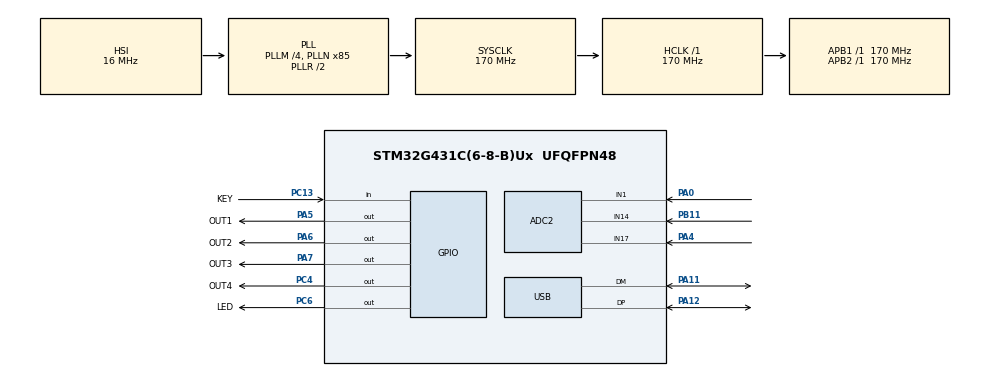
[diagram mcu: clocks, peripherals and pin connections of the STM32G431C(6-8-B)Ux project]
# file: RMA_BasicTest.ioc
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ADC2.Channel-0\#ChannelRegularConversion=ADC_CHANNEL_1
ADC2.Channel-1\#ChannelRegularConversion=ADC_CHANNEL_14
ADC2.Channel-2\#ChannelRegularConversion=ADC_CHANNEL_17
ADC2.ContinuousConvMode=ENABLE
ADC2.DMAContinuousRequests=ENABLE
ADC2.NbrOfConversion=3
ADC2.NbrOfConversionFlag=1
ADC2.OffsetNumber-0\#ChannelRegularConversion=ADC_OFFSET_NONE
ADC2.OffsetNumber-1\#ChannelRegularConversion=ADC_OFFSET_NONE
ADC2.OffsetNumber-2\#ChannelRegularConversion=ADC_OFFSET_NONE
ADC2.Rank-0\#ChannelRegularConversion=1
ADC2.Rank-1\#ChannelRegularConversion=2
ADC2.Rank-2\#ChannelRegularConversion=3
ADC2.SamplingTime-0\#ChannelRegularConversion=ADC_SAMPLETIME_640CYCLES_5
ADC2.SamplingTime-1\#ChannelRegularConversion=ADC_SAMPLETIME_640CYCLES_5
ADC2.SamplingTime-2\#ChannelRegularConversion=ADC_SAMPLETIME_640CYCLES_5
Dma.ADC2.0.Direction=DMA_PERIPH_TO_MEMORY
Dma.ADC2.0.EventEnable=DISABLE
Dma.ADC2.0.Instance=DMA1_Channel1
Dma.ADC2.0.MemDataAlignment=DMA_MDATAALIGN_HALFWORD
Dma.ADC2.0.MemInc=DMA_MINC_ENABLE
Dma.ADC2.0.Mode=DMA_CIRCULAR
Dma.ADC2.0.PeriphDataAlignment=DMA_PDATAALIGN_HALFWORD
Dma.ADC2.0.PeriphInc=DMA_PINC_DISABLE
Dma.ADC2.0.Polarity=HAL_DMAMUX_REQ_GEN_RISING
Dma.ADC2.0.Priority=DMA_PRIORITY_LOW
Dma.ADC2.0.RequestNumber=1
Dma.ADC2.0.SignalID=NONE
Dma.ADC2.0.SyncEnable=DISABLE
Dma.ADC2.0.SyncPolarity=HAL_DMAMUX_SYNC_NO_EVENT
Dma.ADC2.0.SyncRequestNumber=1
Dma.ADC2.0.SyncSignalID=NONE
Dma.Request0=ADC2
FREERTOS.Tasks01=defaultTask,0,256,StartDefaultTask,Default,NULL,Dynamic,NULL,NULL;ledTask,-2,128,LedTask,Default,NULL,Dynamic,NULL,NULL;keyTask,3,128,KeyTask,Default,NULL,Dynamic,NULL,NULL
Mcu.Family=STM32G4
Mcu.Name=STM32G431C(6-8-B)Ux
Mcu.Package=UFQFPN48
NVIC.DMA1_Channel1_IRQn=true\:5\:0\:false\:false\:true\:true\:false\:true\:true
NVIC.PriorityGroup=NVIC_PRIORITYGROUP_4
NVIC.TIM1_TRG_COM_TIM17_IRQn=true\:15\:0\:false\:false\:true\:false\:false\:true\:true
NVIC.TimeBase=TIM1_TRG_COM_TIM17_IRQn
NVIC.TimeBaseIP=TIM17
NVIC.USB_LP_IRQn=true\:5\:0\:false\:false\:true\:true\:false\:true\:true
PA0.Mode=IN1-Single-Ended
PA0.Signal=ADC2_IN1
PA11.Mode=Device
PA11.Signal=USB_DM
PA12.Mode=Device
PA12.Signal=USB_DP
PA13.Mode=Serial_Wire
PA13.Signal=SYS_JTMS-SWDIO
PA14.Mode=Serial_Wire
PA14.Signal=SYS_JTCK-SWCLK
PA4.Mode=IN17-Single-Ended
PA4.Signal=ADC2_IN17
PA5.GPIO_Label=OUT1
PA5.GPIO_PuPd=GPIO_PULLUP
PA5.GPIO_Speed=GPIO_SPEED_FREQ_VERY_HIGH
PA5.PinState=GPIO_PIN_SET
PA5.Signal=GPIO_Output
PA6.GPIO_Label=OUT2
PA6.GPIO_ModeDefaultOutputPP=GPIO_MODE_OUTPUT_PP
PA6.GPIO_PuPd=GPIO_PULLUP
PA6.GPIO_Speed=GPIO_SPEED_FREQ_VERY_HIGH
PA6.PinState=GPIO_PIN_SET
PA6.Signal=GPIO_Output
PA7.GPIO_Label=OUT3
PA7.GPIO_ModeDefaultOutputPP=GPIO_MODE_OUTPUT_PP
PA7.GPIO_PuPd=GPIO_PULLUP
PA7.GPIO_Speed=GPIO_SPEED_FREQ_VERY_HIGH
PA7.PinState=GPIO_PIN_SET
PA7.Signal=GPIO_Output
PB11.Mode=IN14-Single-Ended
PB11.Signal=ADC2_IN14
PC13.GPIO_Label=KEY
PC13.GPIO_PuPd=GPIO_PULLDOWN
PC13.Signal=GPIO_Input
PC4.GPIO_Label=OUT4
PC4.GPIO_ModeDefaultOutputPP=GPIO_MODE_OUTPUT_PP
PC4.GPIO_PuPd=GPIO_PULLUP
PC4.GPIO_Speed=GPIO_SPEED_FREQ_VERY_HIGH
PC4.PinState=GPIO_PIN_SET
PC4.Signal=GPIO_Output
PC6.GPIO_Label=LED
PC6.GPIO_PuPd=GPIO_PULLDOWN
PC6.GPIO_Speed=GPIO_SPEED_FREQ_LOW
PC6.PinState=GPIO_PIN_RESET
PC6.Signal=GPIO_Output
PF0-OSC_IN.Mode=HSE-External-Oscillator
PF0-OSC_IN.Signal=RCC_OSC_IN
PF1-OSC_OUT.Mode=HSE-External-Oscillator
PF1-OSC_OUT.Signal=RCC_OSC_OUT
ProjectManager.HeapSize=0x010
ProjectManager.StackSize=0xA00
ProjectManager.TargetToolchain=MDK-ARM V5.32
RCC.ADC12Freq_Value=170000000
RCC.AHBFreq_Value=170000000
RCC.APB1Freq_Value=170000000
RCC.APB1TimFreq_Value=170000000
RCC.APB2Freq_Value=170000000
RCC.APB2TimFreq_Value=170000000
RCC.CK48CLockSelection=RCC_USBCLKSOURCE_HSI48
RCC.CortexFreq_Value=170000000
RCC.EXTERNAL_CLOCK_VALUE=12288000
RCC.HCLKFreq_Value=170000000
RCC.HSE_VALUE=8000000
RCC.HSI48_VALUE=48000000
RCC.HSI_VALUE=16000000
RCC.LSE_VALUE=32768
RCC.PLLM=RCC_PLLM_DIV4
RCC.PLLN=85
RCC.SYSCLKFreq_VALUE=170000000
RCC.SYSCLKSource=RCC_SYSCLKSOURCE_PLLCLK
RCC.USBFreq_Value=48000000
RCC.VCOOutputFreq_Value=340000000
USB_DEVICE.CLASS_NAME_FS=CDC
USB_DEVICE.VirtualMode=Cdc
USB_DEVICE.VirtualModeFS=Cdc_FS
VP_FREERTOS_VS_CMSIS_V1.Mode=CMSIS_V1
VP_SYS_VS_DBSignals.Mode=DisableDeadBatterySignals
VP_SYS_VS_tim17.Mode=TIM17
VP_USB_DEVICE_VS_USB_DEVICE_CDC_FS.Mode=CDC_FS
board=custom

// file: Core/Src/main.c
/* USER CODE BEGIN Header */
/**
  ******************************************************************************
  * @file           : main.c
  * @brief          : Main program body
  ******************************************************************************
  * @attention
  *
  * Copyright (c) 2025 STMicroelectronics.
  * All rights reserved.
  *
  * This software is licensed under terms that can be found in the LICENSE file
  * in the root directory of this software component.
  * If no LICENSE file comes with this software, it is provided AS-IS.
  *
  ******************************************************************************
  */
/* USER CODE END Header */
#include "main.h"
#include "cmsis_os.h"
#include "adc.h"
#include "dma.h"
#include "usb_device.h"
#include "gpio.h"

void SystemClock_Config(void);
void MX_FREERTOS_Init(void);

int main(void)
{

  /* MCU Configuration--------------------------------------------------------*/

  /* Reset of all peripherals, Initializes the Flash interface and the Systick. */
  HAL_Init();

  /* Configure the system clock */
  SystemClock_Config();

  /* Initialize all configured peripherals */
  MX_GPIO_Init();
  MX_DMA_Init();
  MX_USB_Device_Init();
  MX_ADC2_Init();
  /* USER CODE BEGIN 2 */
//	while(1)
//	{
//		HAL_GPIO_WritePin(OUT1_GPIO_Port,OUT1_Pin,1);
//		HAL_GPIO_WritePin(OUT2_GPIO_Port,OUT2_Pin,1);
//		HAL_GPIO_WritePin(OUT3_GPIO_Port,OUT3_Pin,1);
//		HAL_GPIO_WritePin(OUT4_GPIO_Port,OUT4_Pin,1);
//
//		HAL_Delay(40);
//		HAL_GPIO_WritePin(OUT1_GPIO_Port,OUT1_Pin,0);
//		HAL_GPIO_WritePin(OUT2_GPIO_Port,OUT2_Pin,0);
//		HAL_GPIO_WritePin(OUT3_GPIO_Port,OUT3_Pin,0);
//		HAL_GPIO_WritePin(OUT4_GPIO_Port,OUT4_Pin,0);
//
//		HAL_Delay(10);
//	}
  /* USER CODE END 2 */

  /* Call init function for freertos objects (in freertos.c) */
  MX_FREERTOS_Init();

  /* Start scheduler */
  osKernelStart();

  /* We should never get here as control is now taken by the scheduler */
  /* Infinite loop */
  while (1)
  {

  }
}

void SystemClock_Config(void)
{
  RCC_OscInitTypeDef RCC_OscInitStruct = {0};
  RCC_ClkInitTypeDef RCC_ClkInitStruct = {0};

  /** Configure the main internal regulator output voltage
  */
  HAL_PWREx_ControlVoltageScaling(PWR_REGULATOR_VOLTAGE_SCALE1_BOOST);

  /** Initializes the RCC Oscillators according to the specified parameters
  * in the RCC_OscInitTypeDef structure.
  */
  RCC_OscInitStruct.OscillatorType = RCC_OSCILLATORTYPE_HSI|RCC_OSCILLATORTYPE_HSI48;
  RCC_OscInitStruct.HSIState = RCC_HSI_ON;
  RCC_OscInitStruct.HSICalibrationValue = RCC_HSICALIBRATION_DEFAULT;
  RCC_OscInitStruct.HSI48State = RCC_HSI48_ON;
  RCC_OscInitStruct.PLL.PLLState = RCC_PLL_ON;
  RCC_OscInitStruct.PLL.PLLSource = RCC_PLLSOURCE_HSI;
  RCC_OscInitStruct.PLL.PLLM = RCC_PLLM_DIV4;
  RCC_OscInitStruct.PLL.PLLN = 85;
  RCC_OscInitStruct.PLL.PLLP = RCC_PLLP_DIV2;
  RCC_OscInitStruct.PLL.PLLQ = RCC_PLLQ_DIV2;
  RCC_OscInitStruct.PLL.PLLR = RCC_PLLR_DIV2;
  if (HAL_RCC_OscConfig(&RCC_OscInitStruct) != HAL_OK)
  {
    Error_Handler();
  }

  /** Initializes the CPU, AHB and APB buses clocks
  */
  RCC_ClkInitStruct.ClockType = RCC_CLOCKTYPE_HCLK|RCC_CLOCKTYPE_SYSCLK
                              |RCC_CLOCKTYPE_PCLK1|RCC_CLOCKTYPE_PCLK2;
  RCC_ClkInitStruct.SYSCLKSource = RCC_SYSCLKSOURCE_PLLCLK;
  RCC_ClkInitStruct.AHBCLKDivider = RCC_SYSCLK_DIV1;
  RCC_ClkInitStruct.APB1CLKDivider = RCC_HCLK_DIV1;
  RCC_ClkInitStruct.APB2CLKDivider = RCC_HCLK_DIV1;

  if (HAL_RCC_ClockConfig(&RCC_ClkInitStruct, FLASH_LATENCY_4) != HAL_OK)
  {
    Error_Handler();
  }
}

void HAL_TIM_PeriodElapsedCallback(TIM_HandleTypeDef *htim)
{
  if (htim->Instance == TIM17) {
    HAL_IncTick();
  }
}

void Error_Handler(void)
{
  __disable_irq();
  while (1)
  {
  }
}

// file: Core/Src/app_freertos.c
/* USER CODE BEGIN Header */
/**
  ******************************************************************************
  * File Name          : app_freertos.c
  * Description        : Code for freertos applications
  ******************************************************************************
  * @attention
  *
  * Copyright (c) 2025 STMicroelectronics.
  * All rights reserved.
  *
  * This software is licensed under terms that can be found in the LICENSE file
  * in the root directory of this software component.
  * If no LICENSE file comes with this software, it is provided AS-IS.
  *
  ******************************************************************************
  */
/* USER CODE END Header */

#include "FreeRTOS.h"
#include "task.h"
#include "main.h"
#include "cmsis_os.h"

osThreadId defaultTaskHandle;
osThreadId ledTaskHandle;
osThreadId keyTaskHandle;

void StartDefaultTask(void const * argument);
void LedTask(void const * argument);
void KeyTask(void const * argument);

void MX_FREERTOS_Init(void); /* (MISRA C 2004 rule 8.1) */

void MX_FREERTOS_Init(void) {

  /* Create the thread(s) */
  /* definition and creation of defaultTask */
  osThreadDef(defaultTask, StartDefaultTask, osPriorityNormal, 0, 256);
  defaultTaskHandle = osThreadCreate(osThread(defaultTask), NULL);

  /* definition and creation of ledTask */
  osThreadDef(ledTask, LedTask, osPriorityLow, 0, 128);
  ledTaskHandle = osThreadCreate(osThread(ledTask), NULL);

  /* definition and creation of keyTask */
  osThreadDef(keyTask, KeyTask, osPriorityRealtime, 0, 128);
  keyTaskHandle = osThreadCreate(osThread(keyTask), NULL);

}

/* USER CODE BEGIN Header_StartDefaultTask */
/**
  * @brief  Function implementing the defaultTask thread.
  * @param  argument: Not used
  * @retval None
  */
#define KEY_ON 0
uint8_t key_flag;
uint16_t adc_value[3];
uint16_t avr_num=50;
/* USER CODE END Header_StartDefaultTask */
void StartDefaultTask(void const * argument)
{
  /* USER CODE BEGIN StartDefaultTask */
	char usb_buff[256]={0};
	HAL_ADC_Start_DMA(&hadc2, (uint32_t *)adc_value, 3);

	uint16_t record_OUT1_IN1;
	uint16_t record_OUT1_IN2;
	uint16_t record_OUT1_IN3;
	uint16_t record_OUT2_IN1;
	uint16_t record_OUT2_IN2;
	uint16_t record_OUT2_IN3;
	uint16_t record_OUT3_IN1;
	uint16_t record_OUT3_IN2;
	uint16_t record_OUT3_IN3;
	uint16_t record_OUT4_IN1;
	uint16_t record_OUT4_IN2;
	uint16_t record_OUT4_IN3;

	uint16_t record_2_OUT1_IN1;
	uint16_t record_2_OUT1_IN2;
	uint16_t record_2_OUT1_IN3;
	uint16_t record_2_OUT2_IN1;
	uint16_t record_2_OUT2_IN2;
	uint16_t record_2_OUT2_IN3;
	uint16_t record_2_OUT3_IN1;
	uint16_t record_2_OUT3_IN2;
	uint16_t record_2_OUT3_IN3;

	double Rref1 = 1016;
	double Rref2 = 1005;
	double Rref3 = 1002;
	double R11,R12,R13,R21,R22,R23,R31,R32,R33;
	double R11_2,R12_2,R13_2,R21_2,R22_2,R23_2,R31_2,R32_2,R33_2;

	double voltage_IN1=0.0;
	double voltage_IN2=0.0;
	double voltage_IN3=0.0;
	osDelay(3000);
  /* Infinite loop */
	for(;;)
	{

		sprintf(usb_buff,"\r\n\r\nStart����\r\n");
		CDC_Transmit_FS((uint8_t *)usb_buff,strlen(usb_buff));

		HAL_GPIO_WritePin(OUT1_GPIO_Port,OUT1_Pin,0);
		HAL_GPIO_WritePin(OUT2_GPIO_Port,OUT2_Pin,1);
		HAL_GPIO_WritePin(OUT3_GPIO_Port,OUT3_Pin,1);
		HAL_GPIO_WritePin(OUT4_GPIO_Port,OUT4_Pin,1);
		osDelay(1);
		for(uint16_t i=0;i<(double)avr_num;i++)
		{
			voltage_IN1+=adc_value[0];
			voltage_IN2+=adc_value[1];
		    voltage_IN3+=adc_value[2];
			osDelay(1);
		}
		voltage_IN1/=(double)avr_num;
		voltage_IN2/=(double)avr_num;
		voltage_IN3/=(double)avr_num;
//		sprintf(usb_buff,"OUT1=0\r\nPA0 adc_value:%4.3lf , PB11 adc_value:%4.3lf , PA4 adc_value:%4.3lf key_flag:%d\r\n",voltage_IN1,voltage_IN2,voltage_IN3,key_flag);
//		CDC_Transmit_FS((uint8_t *)usb_buff,strlen(usb_buff));
		record_OUT1_IN1 = voltage_IN1;
		record_OUT1_IN2 = voltage_IN2;
		record_OUT1_IN3 = voltage_IN3;
		voltage_IN1=0.0;
		voltage_IN2=0.0;
		voltage_IN3=0.0;
		if(KEY_ON)
			while(key_flag==0)
				osDelay(1);

		HAL_GPIO_WritePin(OUT1_GPIO_Port,OUT1_Pin,1);
		HAL_GPIO_WritePin(OUT2_GPIO_Port,OUT2_Pin,0);
		HAL_GPIO_WritePin(OUT3_GPIO_Port,OUT3_Pin,1);
		HAL_GPIO_WritePin(OUT4_GPIO_Port,OUT4_Pin,1);
		osDelay(1);
		for(uint16_t i=0;i<(double)avr_num;i++)
		{
			voltage_IN1+=adc_value[0];
			voltage_IN2+=adc_value[1];
		    voltage_IN3+=adc_value[2];
			osDelay(1);
		}
		voltage_IN1/=(double)avr_num;
		voltage_IN2/=(double)avr_num;
		voltage_IN3/=(double)avr_num;
//		sprintf(usb_buff,"OUT2=0\r\nPA0 adc_value:%4.3lf , PB11 adc_value:%4.3lf , PA4 adc_value:%4.3lf key_flag:%d\r\n",voltage_IN1,voltage_IN2,voltage_IN3,key_flag);
//		CDC_Transmit_FS((uint8_t *)usb_buff,strlen(usb_buff));
		record_OUT2_IN1 = voltage_IN1;
		record_OUT2_IN2 = voltage_IN2;
		record_OUT2_IN3 = voltage_IN3;
		voltage_IN1=0.0;
		voltage_IN2=0.0;
		voltage_IN3=0.0;
		if(KEY_ON)
			while(key_flag==1)
				osDelay(1);

		HAL_GPIO_WritePin(OUT1_GPIO_Port,OUT1_Pin,1);
		HAL_GPIO_WritePin(OUT2_GPIO_Port,OUT2_Pin,1);
		HAL_GPIO_WritePin(OUT3_GPIO_Port,OUT3_Pin,0);
		HAL_GPIO_WritePin(OUT4_GPIO_Port,OUT4_Pin,1);
		osDelay(1);
		for(uint16_t i=0;i<(double)avr_num;i++)
		{
			voltage_IN1+=adc_value[0];
			voltage_IN2+=adc_value[1];
		    voltage_IN3+=adc_value[2];
			osDelay(1);
		}
		voltage_IN1/=(double)avr_num;
		voltage_IN2/=(double)avr_num;
		voltage_IN3/=(double)avr_num;
//		sprintf(usb_buff,"OUT3=0\r\nPA0 adc_value:%4.3lf , PB11 adc_value:%4.3lf , PA4 adc_value:%4.3lf key_flag:%d\r\n",voltage_IN1,voltage_IN2,voltage_IN3,key_flag);
//		CDC_Transmit_FS((uint8_t *)usb_buff,strlen(usb_buff));
		record_OUT3_IN1 = voltage_IN1;
		record_OUT3_IN2 = voltage_IN2;
		record_OUT3_IN3 = voltage_IN3;
		voltage_IN1=0.0;
		voltage_IN2=0.0;
		voltage_IN3=0.0;
		if(KEY_ON)
			while(key_flag==2)
				osDelay(1);

		HAL_GPIO_WritePin(OUT1_GPIO_Port,OUT1_Pin,1);
		HAL_GPIO_WritePin(OUT2_GPIO_Port,OUT2_Pin,1);
		HAL_GPIO_WritePin(OUT3_GPIO_Port,OUT3_Pin,1);
		HAL_GPIO_WritePin(OUT4_GPIO_Port,OUT4_Pin,0);
		osDelay(1);
		for(uint16_t i=0;i<(double)avr_num;i++)
		{
			voltage_IN1+=adc_value[0];
			voltage_IN2+=adc_value[1];
		    voltage_IN3+=adc_value[2];
			osDelay(1);
		}
		voltage_IN1/=(double)avr_num;
		voltage_IN2/=(double)avr_num;
		voltage_IN3/=(double)avr_num;
//		sprintf(usb_buff,"OUT4=0\r\nPA0 adc_value:%4.3lf , PB11 adc_value:%4.3lf , PA4 adc_value:%4.3lf key_flag:%d\r\n",voltage_IN1,voltage_IN2,voltage_IN3,key_flag);
//		CDC_Transmit_FS((uint8_t *)usb_buff,strlen(usb_buff));
		record_OUT4_IN1 = voltage_IN1;
		record_OUT4_IN2 = voltage_IN2;
		record_OUT4_IN3 = voltage_IN3;
		voltage_IN1=0.0;
		voltage_IN2=0.0;
		voltage_IN3=0.0;
		if(KEY_ON)
			while(key_flag==3)
				osDelay(1);

		HAL_GPIO_WritePin(OUT1_GPIO_Port,OUT1_Pin,0);
		HAL_GPIO_WritePin(OUT2_GPIO_Port,OUT2_Pin,1);
		HAL_GPIO_WritePin(OUT3_GPIO_Port,OUT3_Pin,1);
		HAL_GPIO_WritePin(OUT4_GPIO_Port,OUT4_Pin,0);
		osDelay(1);
		for(uint16_t i=0;i<(double)avr_num;i++)
		{
			voltage_IN1+=adc_value[0];
			voltage_IN2+=adc_value[1];
		    voltage_IN3+=adc_value[2];
			osDelay(1);
		}
		voltage_IN1/=(double)avr_num;
		voltage_IN2/=(double)avr_num;
		voltage_IN3/=(double)avr_num;
		record_2_OUT1_IN1 = voltage_IN1;
		record_2_OUT1_IN2 = voltage_IN2;
		record_2_OUT1_IN3 = voltage_IN3;
		voltage_IN1=0.0;
		voltage_IN2=0.0;
		voltage_IN3=0.0;
		if(KEY_ON)
			while(key_flag==0)
				osDelay(1);

		HAL_GPIO_WritePin(OUT1_GPIO_Port,OUT1_Pin,1);
		HAL_GPIO_WritePin(OUT2_GPIO_Port,OUT2_Pin,0);
		HAL_GPIO_WritePin(OUT3_GPIO_Port,OUT3_Pin,1);
		HAL_GPIO_WritePin(OUT4_GPIO_Port,OUT4_Pin,0);
		osDelay(1);
		for(uint16_t i=0;i<(double)avr_num;i++)
		{
			voltage_IN1+=adc_value[0];
			voltage_IN2+=adc_value[1];
		    voltage_IN3+=adc_value[2];
			osDelay(1);
		}
		voltage_IN1/=(double)avr_num;
		voltage_IN2/=(double)avr_num;
		voltage_IN3/=(double)avr_num;
		record_2_OUT2_IN1 = voltage_IN1;
		record_2_OUT2_IN2 = voltage_IN2;
		record_2_OUT2_IN3 = voltage_IN3;
		voltage_IN1=0.0;
		voltage_IN2=0.0;
		voltage_IN3=0.0;
		if(KEY_ON)
			while(key_flag==1)
				osDelay(1);

		HAL_GPIO_WritePin(OUT1_GPIO_Port,OUT1_Pin,1);
		HAL_GPIO_WritePin(OUT2_GPIO_Port,OUT2_Pin,1);
		HAL_GPIO_WritePin(OUT3_GPIO_Port,OUT3_Pin,0);
		HAL_GPIO_WritePin(OUT4_GPIO_Port,OUT4_Pin,0);
		osDelay(1);
		for(uint16_t i=0;i<(double)avr_num;i++)
		{
			voltage_IN1+=adc_value[0];
			voltage_IN2+=adc_value[1];
		    voltage_IN3+=adc_value[2];
			osDelay(1);
		}
		voltage_IN1/=(double)avr_num;
		voltage_IN2/=(double)avr_num;
		voltage_IN3/=(double)avr_num;
		record_2_OUT3_IN1 = voltage_IN1;
		record_2_OUT3_IN2 = voltage_IN2;
		record_2_OUT3_IN3 = voltage_IN3;
		voltage_IN1=0.0;
		voltage_IN2=0.0;
		voltage_IN3=0.0;
		if(KEY_ON)
			while(key_flag==2)
				osDelay(1);

		key_flag=0;

		R31 = (double)( 4095 - record_OUT4_IN1 ) / (double)( 4095 - record_OUT3_IN1 ) * Rref1;
		R32 = (double)( 4095 - record_OUT4_IN2 ) / (double)( 4095 - record_OUT3_IN2 ) * Rref2;
		R33 = (double)( 4095 - record_OUT4_IN3 ) / (double)( 4095 - record_OUT3_IN3 ) * Rref3;

		R21 = (double)( 4095 - record_OUT4_IN1 ) / (double)( 4095 - record_OUT2_IN1 ) * Rref1;
		R22 = (double)( 4095 - record_OUT4_IN2 ) / (double)( 4095 - record_OUT2_IN2 ) * Rref2;
		R23 = (double)( 4095 - record_OUT4_IN3 ) / (double)( 4095 - record_OUT2_IN3 ) * Rref3;

		R11 = (double)( 4095 - record_OUT4_IN1 ) / (double)( 4095 - record_OUT1_IN1 ) * Rref1;
		R12 = (double)( 4095 - record_OUT4_IN2 ) / (double)( 4095 - record_OUT1_IN2 ) * Rref2;
		R13 = (double)( 4095 - record_OUT4_IN3 ) / (double)( 4095 - record_OUT1_IN3 ) * Rref3;

		sprintf(usb_buff,"\r\n\r\nR31:%4.3lf, R32:%4.3lf, R33:%4.3lf\r\nR21:%4.3lf, R22:%4.3lf, R23:%4.3lf\r\nR11:%4.3lf, R12:%4.3lf, R13:%4.3lf\r\n",R31,R32,R33,R21,R22,R23,R11,R12,R13);
		CDC_Transmit_FS((uint8_t *)usb_buff,strlen(usb_buff));

		osDelay(5);
		//INCRMA����
		R31_2 = (double)( record_OUT3_IN1 - record_2_OUT3_IN1 ) / (double)( record_OUT4_IN1 - record_2_OUT3_IN1 ) * Rref1;
		R32_2 = (double)( record_OUT3_IN2 - record_2_OUT3_IN2 ) / (double)( record_OUT4_IN2 - record_2_OUT3_IN2 ) * Rref2;
		R33_2 = (double)( record_OUT3_IN3 - record_2_OUT3_IN3 ) / (double)( record_OUT4_IN3 - record_2_OUT3_IN3 ) * Rref3;

		R21_2 = (double)( record_OUT2_IN1 - record_2_OUT2_IN1 ) / (double)( record_OUT4_IN1 - record_2_OUT2_IN1 ) * Rref1;
		R22_2 = (double)( record_OUT2_IN2 - record_2_OUT2_IN2 ) / (double)( record_OUT4_IN2 - record_2_OUT2_IN2 ) * Rref2;
		R23_2 = (double)( record_OUT2_IN3 - record_2_OUT2_IN3 ) / (double)( record_OUT4_IN3 - record_2_OUT2_IN3 ) * Rref3;

		R11_2 = (double)( record_OUT1_IN1 - record_2_OUT1_IN1 ) / (double)( record_OUT4_IN1 - record_2_OUT1_IN1 ) * Rref1;
		R12_2 = (double)( record_OUT1_IN2 - record_2_OUT1_IN2 ) / (double)( record_OUT4_IN2 - record_2_OUT1_IN2 ) * Rref2;
		R13_2 = (double)( record_OUT1_IN3 - record_2_OUT1_IN3 ) / (double)( record_OUT4_IN3 - record_2_OUT1_IN3 ) * Rref3;

		sprintf(usb_buff,"\r\n\r\nR31_2:%4.3lf, R32_2:%4.3lf, R33_2:%4.3lf\r\nR21_2:%4.3lf, R22_2:%4.3lf, R23_2:%4.3lf\r\nR11_2:%4.3lf, R12_2:%4.3lf, R13_2:%4.3lf\r\n",R31_2,R32_2,R33_2,R21_2,R22_2,R23_2,R11_2,R12_2,R13_2);
		CDC_Transmit_FS((uint8_t *)usb_buff,strlen(usb_buff));
//		while(1)
//		{
//			osDelay(500);
//		}

//		sprintf(usb_buff,"PA0 adc_value:%4d , PB11 adc_value:%d , PA4 adc_value:%d\r\n",adc_value[0],adc_value[1],adc_value[2]);

//		for(uint16_t i=0;i<200;i++)
//		{
//			voltage_IN1+=adc_value[0];
//			voltage_IN2+=adc_value[1];
//		    voltage_IN3+=adc_value[2];
//			osDelay(1);
//		}
//		voltage_IN1/=200.0;
//		voltage_IN2/=200.0;
//		voltage_IN3/=200.0;
//		sprintf(usb_buff,"PA0 adc_value:%4.3lf , PB11 adc_value:%4.3lf , PA4 adc_value:%4.3lf key_flag:%d\r\n",voltage_IN1,voltage_IN2,voltage_IN3,key_flag);
//		CDC_Transmit_FS((uint8_t *)usb_buff,strlen(usb_buff));
//
//		voltage_IN1=0.0;
//		voltage_IN2=0.0;
//		voltage_IN3=0.0;

		osDelay(500);
	}
  /* USER CODE END StartDefaultTask */
}

void LedTask(void const * argument)
{
  /* USER CODE BEGIN LedTask */
  /* Infinite loop */
	for(;;)
	{
		HAL_GPIO_TogglePin(LED_GPIO_Port,LED_Pin);
		osDelay(100);
	}
  /* USER CODE END LedTask */
}

void KeyTask(void const * argument)
{
  /* USER CODE BEGIN KeyTask */
  /* Infinite loop */
	for(;;)
	{
		if(HAL_GPIO_ReadPin(KEY_GPIO_Port,KEY_Pin))
		{
			osDelay(20);
			while(HAL_GPIO_ReadPin(KEY_GPIO_Port,KEY_Pin))
			{
				osDelay(1);
			}
			osDelay(20);

//			HAL_GPIO_TogglePin(LED_GPIO_Port,LED_Pin);

			if(key_flag<3)
				key_flag++;
			else
				key_flag=0;

		}
		osDelay(1);
	}
  /* USER CODE END KeyTask */
}
